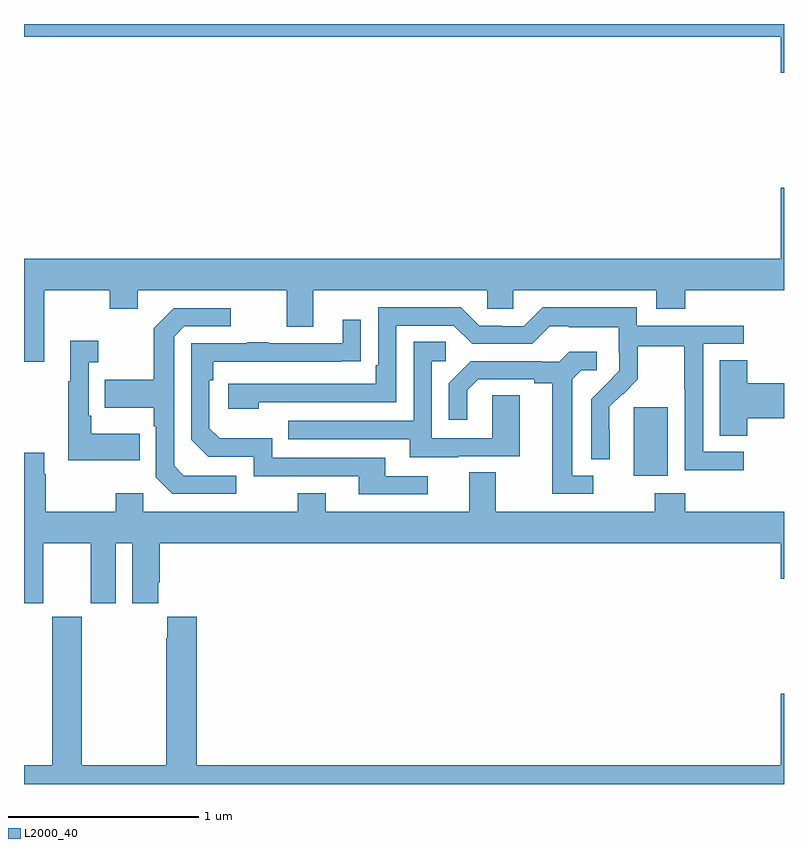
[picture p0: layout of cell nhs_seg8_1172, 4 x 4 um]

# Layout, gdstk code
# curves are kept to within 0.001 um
import gdstk
lib = gdstk.Library(unit=1e-6, precision=1e-09)
def R(c, l, rs):  # rectangles x0, y0, x1, y1
    for r in rs: c.add(gdstk.rectangle(r[:2], r[2:], *l))
def P(c, l, *ps):  # polygons
    for p in ps: c.add(gdstk.Polygon(p, *l))
L2000_40 = (2000, 40)

nhs_seg8_1172 = lib.new_cell('nhs_seg8_1172')
R(nhs_seg8_1172, L2000_40, [(188.21,1115.522,188.389,1115.883)])
P(nhs_seg8_1172, L2000_40, [(189,1117.9),(185,1117.9),(185,1117.832),(188.984,1117.832),(188.984,1117.644),(189,1117.644)],
  [(185.107,1116.5),(185.452,1116.5),(185.452,1116.401),(185.599,1116.401),(185.599,1116.5),(186.383,1116.5),(186.383,1116.306),(186.523,1116.306),(186.523,1116.5),(187.437,1116.5),(187.437,1116.402),(187.575,1116.402),(187.575,1116.5),(188.327,1116.5),(188.327,1116.401),(188.48,1116.401),(188.48,1116.5),(189,1116.5),(189,1117.039),(188.984,1117.039),(188.984,1116.664),(185,1116.664),(185,1116.123),(185.107,1116.123)],
  [(188.788,1115.649),(188.574,1115.649),(188.574,1116.216),(188.788,1116.216),(188.788,1116.312),(188.226,1116.312),(188.226,1116.409),(187.729,1116.409),(187.629,1116.309),(187.514,1116.309),(187.514,1116.312),(187.395,1116.312),(187.299,1116.408),(186.864,1116.408),(186.864,1116.103),(186.851,1116.103),(186.851,1116.006),(186.075,1116.006),(186.075,1115.876),(186.236,1115.876),(186.236,1115.91),(186.96,1115.91),(186.96,1116.312),(187.263,1116.312),(187.359,1116.216),(187.674,1116.216),(187.767,1116.309),(187.867,1116.309),(187.867,1116.305),(188.13,1116.305),(188.13,1116.171),(188.132,1116.171),(188.132,1116.074),(187.986,1115.926),(187.986,1115.608),(188.082,1115.608),(188.081,1115.885),(188.151,1115.955),(188.154,1115.952),(188.231,1116.029),(188.231,1116.204),(188.476,1116.204),(188.476,1115.98),(188.478,1115.98),(188.478,1115.551),(188.788,1115.551)],
  [(186.118,1115.523),(185.841,1115.523),(185.79,1115.574),(185.79,1116.255),(185.844,1116.309),(186.088,1116.309),(186.088,1116.405),(185.787,1116.405),(185.682,1116.299),(185.682,1116.027),(185.425,1116.027),(185.425,1115.879),(185.682,1115.879),(185.682,1115.783),(185.694,1115.783),(185.694,1115.514),(185.781,1115.427),(186.118,1115.427)],
  [(187.126,1115.52),(186.901,1115.52),(186.901,1115.616),(186.306,1115.616),(186.306,1115.719),(186.029,1115.719),(185.976,1115.772),(185.976,1116.026),(185.996,1116.026),(185.996,1116.123),(186.773,1116.124),(186.773,1116.343),(186.677,1116.343),(186.677,1116.219),(186.287,1116.219),(186.287,1116.224),(186.175,1116.224),(186.175,1116.219),(185.88,1116.219),(185.88,1115.712),(185.97,1115.622),(186.21,1115.622),(186.21,1115.52),(186.761,1115.52),(186.761,1115.424),(187.126,1115.424)],
  [(185.609,1115.743),(185.353,1115.743),(185.353,1115.839),(185.34,1115.839),(185.34,1116.119),(185.392,1116.119),(185.392,1116.232),(185.243,1116.232),(185.243,1116.019),(185.232,1116.019),(185.232,1115.603),(185.609,1115.603)],
  [(187.285,1115.625),(187.609,1115.625),(187.609,1115.945),(187.464,1115.945),(187.464,1115.721),(187.146,1115.721),(187.146,1116.126),(187.219,1116.126),(187.219,1116.227),(187.05,1116.227),(187.05,1115.811),(186.391,1115.811),(186.391,1115.715),(187.031,1115.715),(187.031,1115.621),(187.285,1115.621)],
  [(187.996,1115.523),(187.885,1115.523),(187.885,1116.031),(187.932,1116.078),(188.014,1116.078),(188.014,1116.175),(187.87,1116.175),(187.818,1116.123),(187.724,1116.123),(187.724,1116.126),(187.352,1116.126),(187.236,1116.01),(187.236,1115.817),(187.333,1115.817),(187.333,1115.973),(187.39,1116.03),(187.685,1116.03),(187.685,1116.008),(187.781,1116.008),(187.781,1115.427),(187.996,1115.427)],
  [(188.807,1115.825),(189,1115.825),(189,1116.008),(188.807,1116.008),(188.807,1116.131),(188.663,1116.131),(188.663,1115.734),(188.807,1115.734)],
  [(185.101,1115.168),(185.351,1115.168),(185.351,1114.851),(185.482,1114.851),(185.482,1115.168),(185.57,1115.168),(185.57,1114.851),(185.707,1114.851),(185.707,1114.963),(185.714,1114.963),(185.714,1115.168),(188.984,1115.168),(188.984,1114.98),(189,1114.98),(189,1115.332),(188.48,1115.332),(188.48,1115.431),(188.32,1115.431),(188.32,1115.332),(187.483,1115.332),(187.483,1115.54),(187.343,1115.54),(187.343,1115.332),(186.589,1115.332),(186.589,1115.431),(186.442,1115.431),(186.442,1115.332),(185.628,1115.332),(185.628,1115.431),(185.482,1115.431),(185.482,1115.332),(185.115,1115.332),(185.115,1115.531),(185.107,1115.531),(185.107,1115.644),(185,1115.644),(185,1114.851),(185.101,1114.851)],
  [(189,1114.375),(188.984,1114.375),(188.984,1114),(185.909,1114),(185.909,1114.78),(185.753,1114.78),(185.753,1114.667),(185.749,1114.667),(185.749,1114),(185.304,1114),(185.304,1114.78),(185.149,1114.78),(185.149,1114),(185,1114),(185,1113.9),(189,1113.9)])

lib.write_gds('nhs_seg8_1172.gds')
